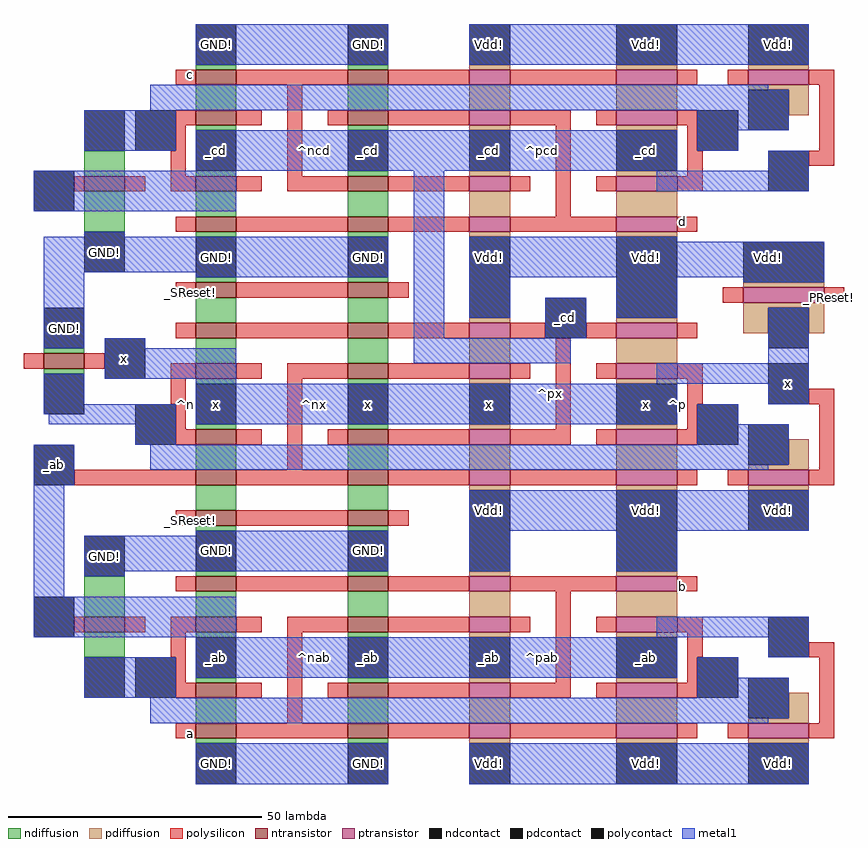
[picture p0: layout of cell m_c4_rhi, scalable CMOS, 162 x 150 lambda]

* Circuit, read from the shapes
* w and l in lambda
.subckt m_c4_rhi GND! Vdd! _PReset! _SReset! _ab _cd a b c d x
M1 GND! x n1 VSUBS nfet w=8 l=3
M2 GND! _ab n2 VSUBS nfet w=8 l=3
M3 n3 _cd GND! VSUBS nfet w=8 l=3
M4 n4 a GND! VSUBS nfet w=8 l=3
M5 _ab n2 n4 VSUBS nfet w=8 l=3
M6 n5 n2 _ab VSUBS nfet w=8 l=3
M7 GND! b n5 VSUBS nfet w=8 l=3
M8 n6 _SReset! GND! VSUBS nfet w=8 l=3
M9 n7 _ab n6 VSUBS nfet w=8 l=3
M10 x n1 n7 VSUBS nfet w=8 l=3
M11 n8 n1 x VSUBS nfet w=8 l=3
M12 n9 _cd n8 VSUBS nfet w=8 l=3
M13 GND! _SReset! n9 VSUBS nfet w=8 l=3
M14 n10 d GND! VSUBS nfet w=8 l=3
M15 _cd n3 n10 VSUBS nfet w=8 l=3
M16 n11 n3 _cd VSUBS nfet w=8 l=3
M17 GND! c n11 VSUBS nfet w=8 l=3
M18 n12 a GND! VSUBS nfet w=8 l=3
M19 _ab b n12 VSUBS nfet w=8 l=3
M20 n13 a _ab VSUBS nfet w=8 l=3
M21 GND! b n13 VSUBS nfet w=8 l=3
M22 n14 _SReset! GND! VSUBS nfet w=8 l=3
M23 n15 _ab n14 VSUBS nfet w=8 l=3
M24 x _cd n15 VSUBS nfet w=8 l=3
M25 n16 _ab x VSUBS nfet w=8 l=3
M26 n17 _cd n16 VSUBS nfet w=8 l=3
M27 GND! _SReset! n17 VSUBS nfet w=8 l=3
M28 n18 d GND! VSUBS nfet w=8 l=3
M29 _cd c n18 VSUBS nfet w=8 l=3
M30 n19 d _cd VSUBS nfet w=8 l=3
M31 GND! c n19 VSUBS nfet w=8 l=3
M32 n20 a Vdd! NWELL pfet w=8 l=3
M33 _ab b n20 NWELL pfet w=8 l=3
M34 n21 a _ab NWELL pfet w=8 l=3
M35 Vdd! b n21 NWELL pfet w=8 l=3
M36 n22 _ab Vdd! NWELL pfet w=8 l=3
M37 x _cd n22 NWELL pfet w=8 l=3
M38 n23 _ab x NWELL pfet w=8 l=3
M39 Vdd! _cd n23 NWELL pfet w=8 l=3
M40 n24 d Vdd! NWELL pfet w=8 l=3
M41 _cd c n24 NWELL pfet w=8 l=3
M42 n25 d _cd NWELL pfet w=8 l=3
M43 Vdd! c n25 NWELL pfet w=8 l=3
M44 n26 a Vdd! NWELL pfet w=12 l=3
M45 _ab n2 n26 NWELL pfet w=12 l=3
M46 n27 n2 _ab NWELL pfet w=12 l=3
M47 Vdd! b n27 NWELL pfet w=12 l=3
M48 n28 _ab Vdd! NWELL pfet w=12 l=3
M49 x n1 n28 NWELL pfet w=12 l=3
M50 n29 n1 x NWELL pfet w=12 l=3
M51 Vdd! _cd n29 NWELL pfet w=12 l=3
M52 n30 d Vdd! NWELL pfet w=12 l=3
M53 _cd n3 n30 NWELL pfet w=12 l=3
M54 n31 n3 _cd NWELL pfet w=12 l=3
M55 Vdd! c n31 NWELL pfet w=12 l=3
M56 Vdd! _PReset! x NWELL pfet w=16 l=3
M57 n2 _ab Vdd! NWELL pfet w=12 l=3
M58 n1 x Vdd! NWELL pfet w=12 l=3
M59 Vdd! _cd n3 NWELL pfet w=12 l=3
.ends

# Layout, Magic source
magic
tech scmos
<< ndiffusion >>
rect 15 150 23 151
rect 45 150 53 151
rect 15 142 23 147
rect -7 129 1 134
rect 15 138 23 139
rect 15 129 23 130
rect 45 142 53 147
rect 45 138 53 139
rect 45 129 53 130
rect -7 118 1 126
rect 15 121 23 126
rect 45 121 53 126
rect 15 117 23 118
rect 15 108 23 109
rect 45 117 53 118
rect 45 108 53 109
rect 15 100 23 105
rect 45 100 53 105
rect -15 94 -7 95
rect -15 90 -7 91
rect 15 92 23 97
rect 45 92 53 97
rect 15 88 23 89
rect 15 79 23 80
rect 15 71 23 76
rect 45 88 53 89
rect 45 79 53 80
rect 45 71 53 76
rect 15 63 23 68
rect 45 63 53 68
rect 15 59 23 60
rect 15 50 23 51
rect 45 59 53 60
rect 45 50 53 51
rect -7 42 1 50
rect 15 42 23 47
rect 45 42 53 47
rect -7 34 1 39
rect 15 38 23 39
rect 15 29 23 30
rect 15 21 23 26
rect 45 38 53 39
rect 45 29 53 30
rect 45 21 53 26
rect 15 17 23 18
rect 45 17 53 18
<< pdiffusion >>
rect 69 150 77 151
rect 98 150 110 151
rect 124 150 136 151
rect 69 142 77 147
rect 98 142 110 147
rect 124 146 136 147
rect 69 138 77 139
rect 69 129 77 130
rect 69 121 77 126
rect 98 138 110 139
rect 98 129 110 130
rect 132 141 136 146
rect 98 121 110 126
rect 69 117 77 118
rect 98 117 110 118
rect 69 100 77 101
rect 123 107 139 108
rect 98 100 110 101
rect 123 103 139 104
rect 123 98 128 103
rect 69 92 77 97
rect 69 88 77 89
rect 69 79 77 80
rect 98 92 110 97
rect 136 98 139 103
rect 98 88 110 89
rect 98 79 110 80
rect 69 71 77 76
rect 98 71 110 76
rect 132 72 136 77
rect 124 71 136 72
rect 69 67 77 68
rect 69 50 77 51
rect 98 67 110 68
rect 124 67 136 68
rect 98 50 110 51
rect 69 42 77 47
rect 69 38 77 39
rect 69 29 77 30
rect 98 42 110 47
rect 98 38 110 39
rect 98 29 110 30
rect 69 21 77 26
rect 98 21 110 26
rect 132 22 136 27
rect 124 21 136 22
rect 69 17 77 18
rect 98 17 110 18
rect 124 17 136 18
<< ntransistor >>
rect 15 147 23 150
rect 45 147 53 150
rect 15 139 23 142
rect 45 139 53 142
rect -7 126 1 129
rect 15 126 23 129
rect 45 126 53 129
rect 15 118 23 121
rect 45 118 53 121
rect 15 105 23 108
rect 45 105 53 108
rect 15 97 23 100
rect 45 97 53 100
rect -15 91 -7 94
rect 15 89 23 92
rect 45 89 53 92
rect 15 76 23 79
rect 45 76 53 79
rect 15 68 23 71
rect 45 68 53 71
rect 15 60 23 63
rect 45 60 53 63
rect 15 47 23 50
rect 45 47 53 50
rect -7 39 1 42
rect 15 39 23 42
rect 45 39 53 42
rect 15 26 23 29
rect 45 26 53 29
rect 15 18 23 21
rect 45 18 53 21
<< ptransistor >>
rect 69 147 77 150
rect 98 147 110 150
rect 124 147 136 150
rect 69 139 77 142
rect 98 139 110 142
rect 69 126 77 129
rect 98 126 110 129
rect 69 118 77 121
rect 98 118 110 121
rect 69 97 77 100
rect 123 104 139 107
rect 98 97 110 100
rect 69 89 77 92
rect 98 89 110 92
rect 69 76 77 79
rect 98 76 110 79
rect 69 68 77 71
rect 98 68 110 71
rect 124 68 136 71
rect 69 47 77 50
rect 98 47 110 50
rect 69 39 77 42
rect 98 39 110 42
rect 69 26 77 29
rect 98 26 110 29
rect 69 18 77 21
rect 98 18 110 21
rect 124 18 136 21
<< polysilicon >>
rect 11 147 15 150
rect 23 147 45 150
rect 53 147 69 150
rect 77 147 98 150
rect 110 147 114 150
rect 120 147 124 150
rect 136 147 141 150
rect 11 139 15 142
rect 23 139 28 142
rect 11 134 13 139
rect 10 129 13 134
rect 33 129 36 147
rect 41 139 45 142
rect 53 139 69 142
rect 77 139 89 142
rect 94 139 98 142
rect 110 139 114 142
rect -9 126 -7 129
rect 1 126 5 129
rect 10 126 15 129
rect 23 126 28 129
rect 33 126 45 129
rect 53 126 69 129
rect 77 126 81 129
rect 86 121 89 139
rect 112 134 114 139
rect 138 134 141 147
rect 112 129 115 134
rect 94 126 98 129
rect 110 126 115 129
rect 136 131 141 134
rect 11 118 15 121
rect 23 118 45 121
rect 53 118 69 121
rect 77 118 98 121
rect 110 118 114 121
rect 11 105 15 108
rect 23 105 45 108
rect 53 105 57 108
rect 11 97 15 100
rect 23 97 45 100
rect 53 97 69 100
rect 77 97 84 100
rect 119 104 123 107
rect 139 104 143 107
rect 92 97 98 100
rect 110 97 114 100
rect -19 91 -15 94
rect -7 91 -3 94
rect 10 89 15 92
rect 23 89 28 92
rect 33 89 45 92
rect 53 89 69 92
rect 77 89 81 92
rect 10 84 13 89
rect 11 79 13 84
rect 11 76 15 79
rect 23 76 28 79
rect 33 71 36 89
rect 86 79 89 97
rect 94 89 98 92
rect 110 89 115 92
rect 112 84 115 89
rect 136 84 141 87
rect 112 79 114 84
rect 41 76 45 79
rect 53 76 69 79
rect 77 76 89 79
rect 94 76 98 79
rect 110 76 114 79
rect 138 71 141 84
rect -9 68 15 71
rect 23 68 45 71
rect 53 68 69 71
rect 77 68 98 71
rect 110 68 114 71
rect 120 68 124 71
rect 136 68 141 71
rect 11 60 15 63
rect 23 60 45 63
rect 53 60 57 63
rect 11 47 15 50
rect 23 47 45 50
rect 53 47 69 50
rect 77 47 98 50
rect 110 47 114 50
rect -9 39 -7 42
rect 1 39 5 42
rect 10 39 15 42
rect 23 39 28 42
rect 33 39 45 42
rect 53 39 69 42
rect 77 39 81 42
rect 10 34 13 39
rect 11 29 13 34
rect 11 26 15 29
rect 23 26 28 29
rect 33 21 36 39
rect 86 29 89 47
rect 94 39 98 42
rect 110 39 115 42
rect 112 34 115 39
rect 136 34 141 37
rect 112 29 114 34
rect 41 26 45 29
rect 53 26 69 29
rect 77 26 89 29
rect 94 26 98 29
rect 110 26 114 29
rect 138 21 141 34
rect 11 18 15 21
rect 23 18 45 21
rect 53 18 69 21
rect 77 18 98 21
rect 110 18 114 21
rect 120 18 124 21
rect 136 18 141 21
<< ndcontact >>
rect 15 151 23 159
rect 45 151 53 159
rect -7 134 1 142
rect 15 130 23 138
rect 45 130 53 138
rect -7 110 1 118
rect 15 109 23 117
rect 45 109 53 117
rect -15 95 -7 103
rect -15 82 -7 90
rect 15 80 23 88
rect 45 80 53 88
rect -7 50 1 58
rect 15 51 23 59
rect 45 51 53 59
rect -7 26 1 34
rect 15 30 23 38
rect 45 30 53 38
rect 15 9 23 17
rect 45 9 53 17
<< pdcontact >>
rect 69 151 77 159
rect 98 151 110 159
rect 124 151 136 159
rect 69 130 77 138
rect 98 130 110 138
rect 124 138 132 146
rect 69 101 77 117
rect 98 101 110 117
rect 123 108 139 116
rect 69 80 77 88
rect 128 95 136 103
rect 98 80 110 88
rect 124 72 132 80
rect 69 51 77 67
rect 98 51 110 67
rect 124 59 136 67
rect 69 30 77 38
rect 98 30 110 38
rect 124 22 132 30
rect 69 9 77 17
rect 98 9 110 17
rect 124 9 136 17
<< polycontact >>
rect 3 134 11 142
rect -17 122 -9 130
rect 114 134 122 142
rect 128 126 136 134
rect 84 97 92 105
rect -3 89 5 97
rect 3 76 11 84
rect -17 68 -9 76
rect 128 84 136 92
rect 114 76 122 84
rect -17 38 -9 46
rect 3 26 11 34
rect 128 34 136 42
rect 114 26 122 34
<< metal1 >>
rect 15 151 53 159
rect 69 151 136 159
rect 6 146 128 147
rect 6 142 132 146
rect -7 134 11 142
rect 114 138 132 142
rect 15 130 110 138
rect 114 134 122 138
rect 128 130 136 134
rect -17 122 23 130
rect -7 117 1 118
rect -15 110 53 117
rect -15 95 -7 110
rect 15 109 53 110
rect 58 97 64 130
rect 106 126 136 130
rect 69 116 110 117
rect 69 109 139 116
rect 69 101 77 109
rect 84 97 92 105
rect 98 101 110 109
rect 123 108 139 109
rect -3 95 5 97
rect -15 84 -7 90
rect -3 89 23 95
rect 58 92 89 97
rect 128 92 136 103
rect 15 88 23 89
rect 106 88 136 92
rect -15 82 11 84
rect -14 80 11 82
rect 15 80 110 88
rect 128 84 136 88
rect 114 80 122 84
rect 3 76 11 80
rect 114 76 132 80
rect -17 68 -9 76
rect 6 72 132 76
rect 6 71 128 72
rect -17 46 -11 68
rect 69 59 136 67
rect 15 58 53 59
rect -7 51 53 58
rect 69 51 77 59
rect 98 51 110 59
rect -7 50 1 51
rect -17 38 23 46
rect 106 38 136 42
rect -7 26 11 34
rect 15 30 110 38
rect 128 34 136 38
rect 114 30 122 34
rect 114 26 132 30
rect 6 22 132 26
rect 6 21 128 22
rect 15 9 53 17
rect 69 9 136 17
<< labels >>
rlabel metal1 104 155 104 155 5 Vdd!
rlabel metal1 19 155 19 155 5 GND!
rlabel metal1 73 155 73 155 5 Vdd!
rlabel metal1 49 155 49 155 5 GND!
rlabel metal1 104 34 104 34 1 _ab
rlabel metal1 73 34 73 34 1 _ab
rlabel metal1 49 34 49 34 1 _ab
rlabel metal1 19 34 19 34 1 _ab
rlabel polysilicon 111 48 111 48 1 b
rlabel polysilicon 14 19 14 19 1 a
rlabel metal1 130 13 130 13 1 Vdd!
rlabel metal1 104 13 104 13 1 Vdd!
rlabel metal1 19 13 19 13 1 GND!
rlabel metal1 73 13 73 13 1 Vdd!
rlabel metal1 49 13 49 13 1 GND!
rlabel metal1 19 55 19 55 1 GND!
rlabel metal1 49 55 49 55 1 GND!
rlabel metal1 19 113 19 113 5 GND!
rlabel metal1 49 113 49 113 5 GND!
rlabel metal1 132 88 132 88 1 x
rlabel polysilicon 14 61 14 61 1 _SReset!
rlabel polysilicon 14 106 14 106 1 _SReset!
rlabel metal1 130 63 130 63 1 Vdd!
rlabel metal1 104 63 104 63 1 Vdd!
rlabel metal1 104 84 104 84 5 x
rlabel metal1 19 84 19 84 1 x
rlabel metal1 73 63 73 63 1 Vdd!
rlabel metal1 73 84 73 84 1 x
rlabel metal1 49 84 49 84 1 x
rlabel metal1 104 113 104 113 5 Vdd!
rlabel metal1 73 113 73 113 5 Vdd!
rlabel polysilicon 14 149 14 149 5 c
rlabel polysilicon 111 120 111 120 5 d
rlabel metal1 49 134 49 134 5 _cd
rlabel metal1 19 134 19 134 5 _cd
rlabel metal1 73 134 73 134 5 _cd
rlabel metal1 104 134 104 134 5 _cd
rlabel metal1 130 155 130 155 1 Vdd!
rlabel metal1 128 113 128 113 1 Vdd!
rlabel metal1 88 101 88 101 1 _cd
rlabel metal1 1 93 1 93 5 x
rlabel ndcontact -3 114 -3 114 5 GND!
rlabel metal1 -11 99 -11 99 1 GND!
rlabel metal1 -13 72 -13 72 1 _ab
rlabel metal1 -3 54 -3 54 1 GND!
rlabel polysilicon 140 105 140 105 7 _PReset!
rlabel space -20 8 46 160 7 ^n
rlabel space 76 8 144 160 3 ^p
rlabel space 32 16 45 52 3 ^nab
rlabel space 77 16 90 52 7 ^pab
rlabel space 32 58 45 110 3 ^nx
rlabel space 77 66 93 106 7 ^px
rlabel space 32 116 45 152 3 ^ncd
rlabel space 77 116 90 152 7 ^pcd
<< end >>
